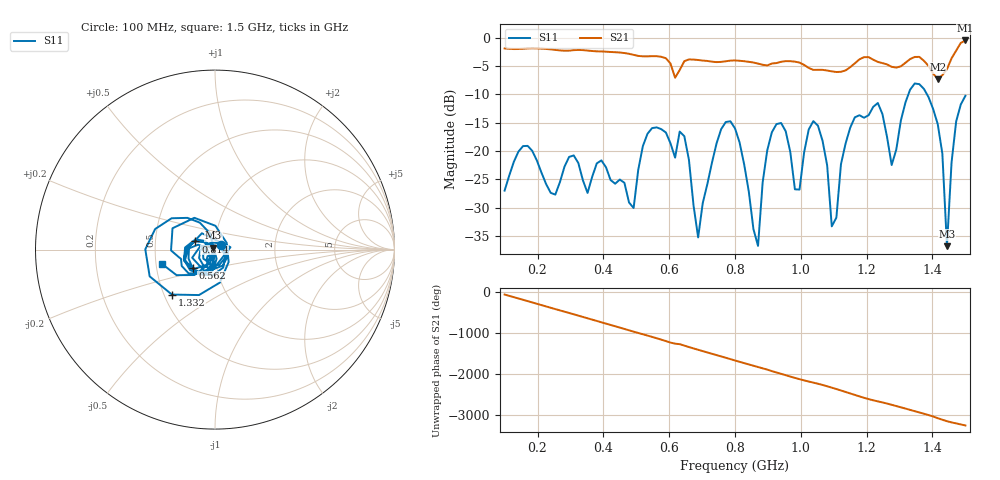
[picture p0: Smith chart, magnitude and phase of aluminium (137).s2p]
! NanoVNA-App
! Date: 2025-09-25 14:56:20
! Start: 100MHz Stop: 1,5GHz Points: 101
! S-Parameter data: F S11 S21 S12 S22
# Hz S RI R 50
!  Frequency  S11_Real  S11_Imag  S21_Real  S21_Imag  S12_Real  S12_Imag  S22_Real  S22_Imag
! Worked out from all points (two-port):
!   101 points, 100 MHz to 1.5 GHz, reference 50 ohm
!   highest |S21| = -0.51 dB at 1.5 GHz (marker M1); lowest = -7.3 dB at 1.416 GHz (marker M2)
!   |S21| within 3 dB of the highest: start of sweep to 582.6 MHz; 1.46 GHz to end of sweep (the widest 2 of 4)
!   lowest |S11| = -36.8 dB at 1.444 GHz (marker M3), VSWR 1.03, Z = 49.1 + j1.08 ohm
!   |S11| at or under -10 dB: start of sweep to 1.327 GHz; 1.383 GHz to end of sweep
!   S12 and S22 are empty: the file has one direction only
!   S11 on the Smith chart (normalised r, x): 100 MHz: 1.07, +0.06; 562 MHz: 0.76, -0.16; 814 MHz: 0.80, +0.07; 1.332 GHz: 0.55, -0.31; 1.5 GHz: 0.54, -0.09
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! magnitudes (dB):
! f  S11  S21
! 100 MHz  -27.0  -1.9
! 338 MHz  -25.2  -2.2
! 492 MHz  -30.1  -3.0
! 562 MHz  -15.8  -3.3
! 576 MHz  -16.2  -3.4
! 646 MHz  -17.4  -4.2
! 688 MHz  -35.3  -4.0
! 800 MHz  -16.0  -4.0
! 814 MHz  -18.5  -4.1
! 870 MHz  -36.8  -4.6
! 912 MHz  -16.7  -4.6
! 996 MHz  -26.8  -4.4
! 1.038 GHz  -14.7  -5.7
! 1.094 GHz  -33.3  -6.0
! 1.164 GHz  -14.1  -4.5
! 1.234 GHz  -11.5  -4.3
! 1.276 GHz  -22.5  -5.2
! 1.332 GHz  -9.2  -3.8
! 1.416 GHz  -15.3  -7.3
! 1.444 GHz  -36.8  -5.6
! 1.472 GHz  -14.8  -2.3
! 1.5 GHz  -10.3  -0.5
